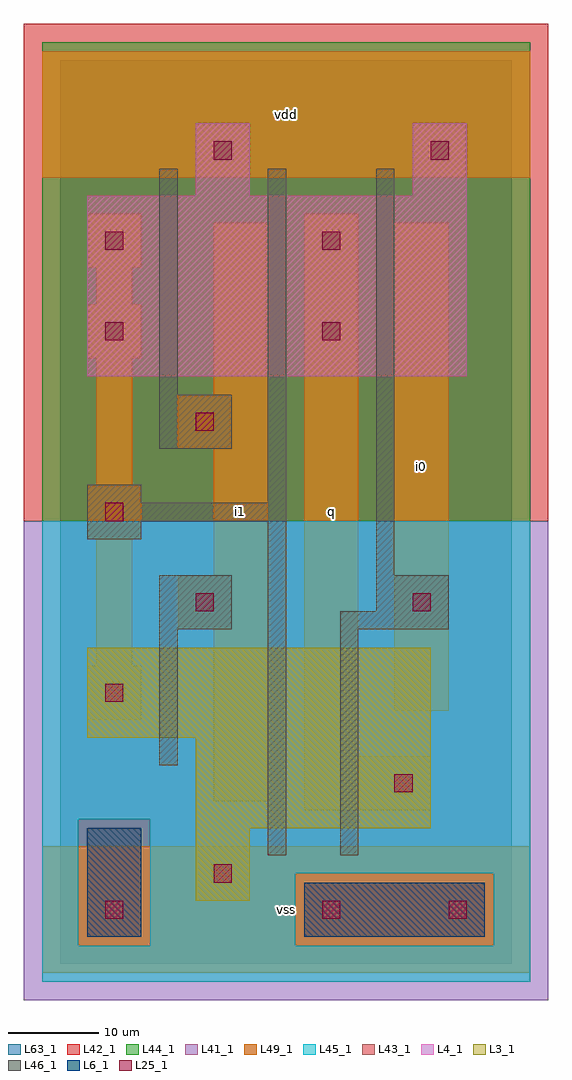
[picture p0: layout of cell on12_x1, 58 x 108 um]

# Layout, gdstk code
import gdstk
lib = gdstk.Library(unit=1e-6, precision=1e-09)
def R(c, l, rs):  # rectangles x0, y0, x1, y1
    for r in rs: c.add(gdstk.rectangle(r[:2], r[2:], *l))
def A(c, l, x, y, w, h, nx, ny, dx, dy):  # array of equal rectangles
    R(c, l, [(x+i*dx, y+j*dy, x+i*dx+w, y+j*dy+h) for i in range(nx) for j in range(ny)])
L3_1 = (3, 1)
L4_1 = (4, 1)
L6_1 = (6, 1)
L25_1 = (25, 1)
L41_1 = (41, 1)
L42_1 = (42, 1)
L43_1 = (43, 1)
L44_1 = (44, 1)
L45_1 = (45, 1)
L46_1 = (46, 1)
L49_1 = (49, 1)
L63_1 = (63, 1)

on12_x1 = lib.new_cell('on12_x1')
R(on12_x1, L3_1, [(15,7,21,15), (15,15,41,25), (3,25,41,35)])
R(on12_x1, L4_1, [(3,65,45,85), (15,85,21,93), (39,85,45,93)])
R(on12_x1, L6_1, [(3,3,9,15), (27,3,47,9)])
A(on12_x1, L25_1, 5, 29, 2, 2, 1, 3, 0, 20)
R(on12_x1, L25_1, [(5,5,7,7), (29,5,31,7), (43,5,45,7), (17,9,19,11), (37,19,39,21), (15,39,17,41), (39,39,41,41), (15,59,17,61), (29,69,31,71), (5,79,7,81), (29,79,31,81), (17,89,19,91), (41,89,43,91)])
R(on12_x1, L41_1, [(-4,-4,54,49)])
R(on12_x1, L42_1, [(-4,49,54,104)])
R(on12_x1, L43_1, [(3,3,9,15), (27,3,47,9), (15,7,21,15), (15,15,41,25), (3,25,41,35), (3,65,45,85), (15,85,21,93), (39,85,45,93)])
R(on12_x1, L44_1, [(2,2,10,16), (26,2,48,10), (-2,49,52,102)])
R(on12_x1, L45_1, [(-2,-2,52,2), (-2,2,2,16), (10,2,26,10), (48,2,52,10), (10,10,52,16), (-2,16,52,49)])
R(on12_x1, L46_1, [(23,12,25,49), (31,12,33,37), (11,22,13,37), (11,37,19,43), (31,37,43,39), (35,39,43,43), (35,43,37,88), (3,47,9,49), (3,49,25,51), (3,51,9,53), (23,51,25,88), (11,57,19,63), (11,63,13,88)])
A(on12_x1, L49_1, 3, 27, 6, 6, 1, 3, 0, 20)
R(on12_x1, L49_1, [(-2,-1,52,13), (27,17,41,23), (17,18,23,37), (27,23,33,83), (37,28,43,82), (4,33,8,47), (13,37,23,43), (17,43,23,57), (4,53,8,67), (13,57,23,63), (17,63,23,82), (4,73,8,77), (3,77,9,83), (-2,87,52,101)])
R(on12_x1, L63_1, [(0,0,50,100)])
on12_x1.add(gdstk.Label('i1', (20,50), layer=49, texttype=1))
on12_x1.add(gdstk.Label('i1', (20,50), layer=49, texttype=1))
on12_x1.add(gdstk.Label('vss', (25,6), layer=49, texttype=1))
on12_x1.add(gdstk.Label('vss', (25,6), layer=49, texttype=1))
on12_x1.add(gdstk.Label('q', (30,50), layer=49, texttype=1))
on12_x1.add(gdstk.Label('q', (30,50), layer=49, texttype=1))
on12_x1.add(gdstk.Label('vdd', (25,94), layer=49, texttype=1))
on12_x1.add(gdstk.Label('vdd', (25,94), layer=49, texttype=1))
on12_x1.add(gdstk.Label('i0', (40,55), layer=49, texttype=1))
on12_x1.add(gdstk.Label('i0', (40,55), layer=49, texttype=1))

lib.write_gds('on12_x1.gds')
